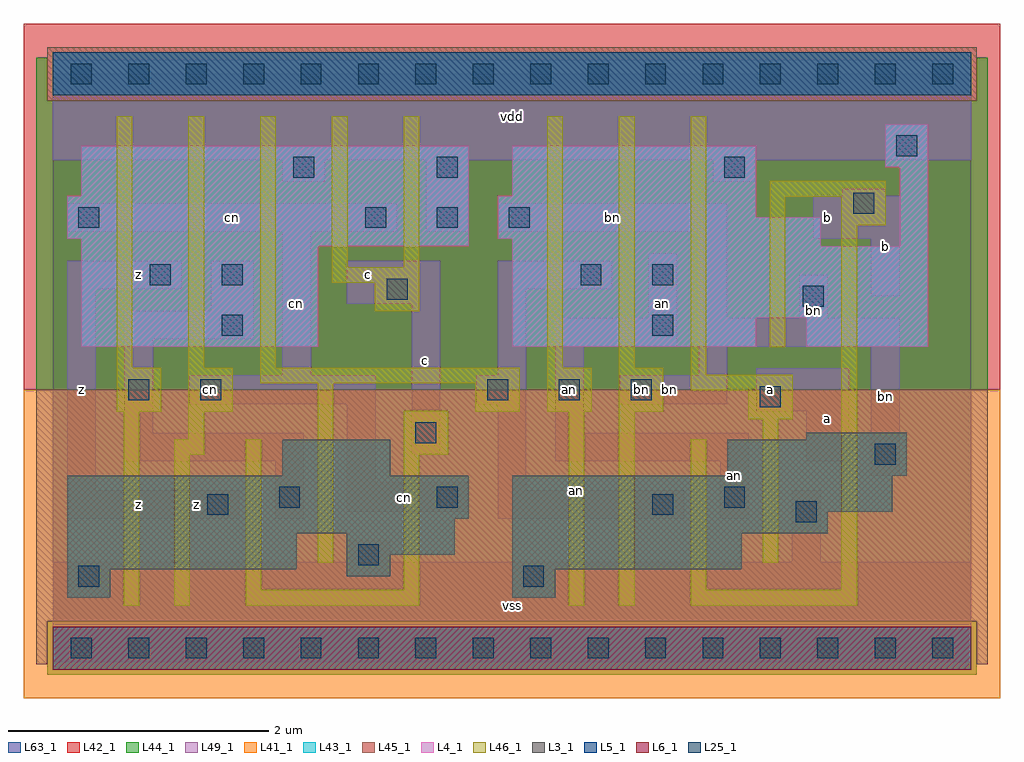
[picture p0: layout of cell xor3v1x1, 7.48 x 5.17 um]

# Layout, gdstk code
import gdstk
lib = gdstk.Library(unit=1e-6, precision=1e-09)
def R(c, l, rs):  # rectangles x0, y0, x1, y1
    for r in rs: c.add(gdstk.rectangle(r[:2], r[2:], *l))
def A(c, l, x, y, w, h, nx, ny, dx, dy):  # array of equal rectangles
    R(c, l, [(x+i*dx, y+j*dy, x+i*dx+w, y+j*dy+h) for i in range(nx) for j in range(ny)])
L3_1 = (3, 1)
L4_1 = (4, 1)
L5_1 = (5, 1)
L6_1 = (6, 1)
L25_1 = (25, 1)
L41_1 = (41, 1)
L42_1 = (42, 1)
L43_1 = (43, 1)
L44_1 = (44, 1)
L45_1 = (45, 1)
L46_1 = (46, 1)
L49_1 = (49, 1)
L63_1 = (63, 1)

xor3v1x1 = lib.new_cell('xor3v1x1')
R(xor3v1x1, L3_1, [(0.11,0.385,0.44,0.605), (3.52,0.385,3.85,0.605), (2.255,0.55,2.585,0.715), (0.11,0.605,1.87,0.88), (3.52,0.605,5.28,0.88), (2.255,0.715,3.08,0.88), (0.11,0.88,3.08,0.99), (3.52,0.88,5.94,1.045), (0.11,0.99,3.19,1.32), (3.52,1.045,6.435,1.32), (1.76,1.32,2.585,1.595), (5.17,1.32,6.545,1.595), (5.775,1.595,6.545,1.65)])
R(xor3v1x1, L4_1, [(0.22,2.31,2.035,3.08), (3.52,2.31,5.39,2.53), (5.775,2.31,6.71,2.53), (3.52,2.53,6.71,3.08), (0.22,3.08,3.19,3.135), (3.52,3.08,5.885,3.135), (6.49,3.08,6.71,3.685), (0.11,3.135,3.19,3.465), (3.41,3.135,5.885,3.3), (3.41,3.3,5.39,3.465), (0.22,3.465,3.19,3.85), (3.52,3.465,5.39,3.85), (6.38,3.685,6.71,4.015)])
R(xor3v1x1, L5_1, [(0,4.235,7.04,4.565)])
R(xor3v1x1, L6_1, [(0,-0.165,7.04,0.165)])
A(xor3v1x1, L25_1, 0.14, -0.08, 0.16, 0.16, 16, 2, 0.44, 4.4)
A(xor3v1x1, L25_1, 3.33, 1.9, 0.16, 0.16, 3, 1, 0.55, 0)
A(xor3v1x1, L25_1, 2.395, 3.22, 0.16, 0.16, 3, 1, 0.55, 0)
R(xor3v1x1, L25_1, [(0.195,0.47,0.355,0.63), (3.605,0.47,3.765,0.63), (2.34,0.635,2.5,0.795), (5.695,0.965,5.855,1.125), (1.185,1.02,1.345,1.18), (4.595,1.02,4.755,1.18), (1.735,1.075,1.895,1.235), (2.945,1.075,3.105,1.235), (5.145,1.075,5.305,1.235), (6.3,1.405,6.46,1.565), (2.78,1.57,2.94,1.73), (5.42,1.845,5.58,2.005), (0.58,1.9,0.74,2.06), (1.13,1.9,1.29,2.06), (1.295,2.395,1.455,2.555), (4.595,2.395,4.755,2.555), (5.75,2.615,5.91,2.775), (2.56,2.67,2.72,2.83), (0.745,2.78,0.905,2.94), (1.295,2.78,1.455,2.94), (4.045,2.78,4.205,2.94), (4.595,2.78,4.755,2.94), (0.195,3.22,0.355,3.38), (6.135,3.33,6.295,3.49), (1.845,3.605,2.005,3.765), (2.945,3.605,3.105,3.765), (5.145,3.605,5.305,3.765), (6.465,3.77,6.625,3.93)])
R(xor3v1x1, L41_1, [(-0.22,-0.385,7.26,1.98)])
R(xor3v1x1, L42_1, [(-0.22,1.98,7.26,4.785)])
R(xor3v1x1, L43_1, [(0,-0.165,7.04,0.165), (0.11,0.385,0.44,0.605), (3.52,0.385,3.85,0.605), (2.255,0.55,2.585,0.715), (0.11,0.605,1.87,0.88), (3.52,0.605,5.28,0.88), (2.255,0.715,3.08,0.88), (0.11,0.88,3.08,0.99), (3.52,0.88,5.94,1.045), (0.11,0.99,3.19,1.32), (3.52,1.045,6.435,1.32), (1.76,1.32,2.585,1.595), (5.17,1.32,6.545,1.595), (5.775,1.595,6.545,1.65), (0.22,2.31,2.035,3.08), (3.52,2.31,5.39,2.53), (5.775,2.31,6.71,2.53), (3.52,2.53,6.71,3.08), (0.22,3.08,3.19,3.135), (3.52,3.08,5.885,3.135), (6.49,3.08,6.71,3.685), (0.11,3.135,3.19,3.465), (3.41,3.135,5.885,3.3), (3.41,3.3,5.39,3.465), (0.22,3.465,3.19,3.85), (3.52,3.465,5.39,3.85), (6.38,3.685,6.71,4.015), (0,4.235,7.04,4.565)])
R(xor3v1x1, L44_1, [(-0.04,-0.205,7.08,0.205), (-0.125,1.98,7.165,4.195), (-0.125,4.195,-0.04,4.525), (7.08,4.195,7.165,4.525)])
R(xor3v1x1, L45_1, [(-0.125,-0.125,-0.04,0.205), (7.08,-0.125,7.165,0.205), (-0.125,0.205,7.165,1.98), (-0.04,4.195,7.08,4.605)])
A(xor3v1x1, L46_1, 0.49, 2.15, 0.12, 1.925, 3, 1, 0.55, 0)
R(xor3v1x1, L46_1, [(0.545,0.325,0.665,1.81), (0.93,0.325,1.05,1.48), (1.48,0.325,2.81,0.445), (3.955,0.325,4.075,1.81), (4.34,0.325,4.46,1.81), (4.89,0.325,6.165,0.445), (1.48,0.445,1.6,1.6), (2.69,0.445,2.81,1.48), (4.89,0.445,5.01,1.6), (6.045,0.445,6.165,3.24), (2.03,0.655,2.15,2.03), (5.44,0.655,5.56,1.755), (0.93,1.48,1.16,1.6), (2.69,1.48,3.03,1.82), (1.04,1.6,1.16,1.81), (5.33,1.755,5.67,1.975), (0.49,1.81,0.83,2.15), (1.04,1.81,1.38,2.15), (3.24,1.81,3.58,2.03), (3.79,1.81,4.13,2.15), (4.34,1.81,4.68,2.15), (4.89,1.975,5.67,2.095), (1.59,2.03,3.58,2.15), (4.89,2.095,5.01,4.075), (3.79,2.15,3.91,4.075), (4.34,2.15,4.46,4.075), (5.495,2.305,5.615,3.46), (2.47,2.58,2.81,2.8), (2.14,2.8,2.81,2.92), (2.14,2.92,2.26,4.075), (2.69,2.92,2.81,4.075), (6.045,3.24,6.385,3.46), (5.495,3.46,6.385,3.58)])
R(xor3v1x1, L49_1, [(0,-0.11,7.04,0.66), (2.255,0.66,2.585,0.825), (5.665,0.66,5.885,1.21), (0.11,0.99,1.43,1.21), (1.705,0.99,1.925,1.43), (3.41,0.99,4.84,1.21), (5.115,0.99,5.335,1.43), (2.255,1.045,3.19,1.265), (0.11,1.21,0.33,2.75), (3.41,1.21,3.63,1.87), (2.255,1.265,2.475,1.87), (6.27,1.32,6.49,2.31), (0.55,1.43,1.925,1.65), (3.85,1.43,5.335,1.65), (5.775,1.43,6.105,1.815), (2.75,1.485,2.97,2.64), (0.55,1.65,0.77,2.365), (3.85,1.65,4.07,2.31), (5.39,1.815,6.105,2.145), (1.045,1.87,2.475,2.09), (3.245,1.87,3.63,2.09), (4.345,1.87,5.17,2.09), (1.76,2.09,1.98,3.19), (3.41,2.09,3.63,2.75), (4.95,2.09,5.17,2.31), (3.85,2.31,4.785,2.53), (4.95,2.31,6.49,2.53), (0.55,2.365,1.54,2.585), (4.565,2.53,4.785,3.025), (4.95,2.53,5.17,3.19), (5.72,2.53,5.94,2.86), (1.21,2.585,1.54,2.97), (2.255,2.64,2.97,2.97), (6.27,2.695,6.49,3.135), (0.11,2.75,0.99,2.97), (3.41,2.75,4.29,2.97), (5.83,3.135,6.49,3.465), (0.11,3.19,2.64,3.41), (2.86,3.19,3.19,3.74), (3.41,3.19,5.17,3.41), (6.05,3.465,6.38,3.52), (1.76,3.575,2.09,3.74), (5.06,3.575,5.39,3.74), (0,3.74,7.04,4.51)])
R(xor3v1x1, L63_1, [(0,0,7.04,4.4)])
xor3v1x1.add(gdstk.Label('cn', (1.21,1.98), layer=49, texttype=1))
xor3v1x1.add(gdstk.Label('an', (4.015,1.21), layer=46, texttype=1))
xor3v1x1.add(gdstk.Label('bn', (4.51,1.98), layer=49, texttype=1))
xor3v1x1.add(gdstk.Label('z', (1.1,1.1), layer=49, texttype=1))
xor3v1x1.add(gdstk.Label('z', (0.66,1.1), layer=49, texttype=1))
xor3v1x1.add(gdstk.Label('z', (0.22,1.98), layer=49, texttype=1))
xor3v1x1.add(gdstk.Label('z', (0.66,2.86), layer=49, texttype=1))
xor3v1x1.add(gdstk.Label('c', (2.42,2.86), layer=49, texttype=1))
xor3v1x1.add(gdstk.Label('cn', (1.87,2.64), layer=49, texttype=1))
xor3v1x1.add(gdstk.Label('cn', (1.375,3.3), layer=49, texttype=1))
xor3v1x1.add(gdstk.Label('vss', (3.52,0.33), layer=49, texttype=1))
xor3v1x1.add(gdstk.Label('cn', (2.695,1.155), layer=49, texttype=1))
xor3v1x1.add(gdstk.Label('an', (3.96,1.98), layer=49, texttype=1))
xor3v1x1.add(gdstk.Label('c', (2.86,2.2), layer=49, texttype=1))
xor3v1x1.add(gdstk.Label('vdd', (3.52,4.07), layer=49, texttype=1))
xor3v1x1.add(gdstk.Label('an', (5.225,1.32), layer=49, texttype=1))
xor3v1x1.add(gdstk.Label('bn', (4.73,1.98), layer=49, texttype=1))
xor3v1x1.add(gdstk.Label('a', (5.5,1.98), layer=49, texttype=1))
xor3v1x1.add(gdstk.Label('an', (4.675,2.64), layer=49, texttype=1))
xor3v1x1.add(gdstk.Label('bn', (4.29,3.3), layer=49, texttype=1))
xor3v1x1.add(gdstk.Label('a', (5.94,1.76), layer=49, texttype=1))
xor3v1x1.add(gdstk.Label('bn', (6.38,1.925), layer=49, texttype=1))
xor3v1x1.add(gdstk.Label('bn', (5.83,2.585), layer=49, texttype=1))
xor3v1x1.add(gdstk.Label('b', (6.38,3.08), layer=49, texttype=1))
xor3v1x1.add(gdstk.Label('b', (5.94,3.3), layer=49, texttype=1))

lib.write_gds('xor3v1x1.gds')
